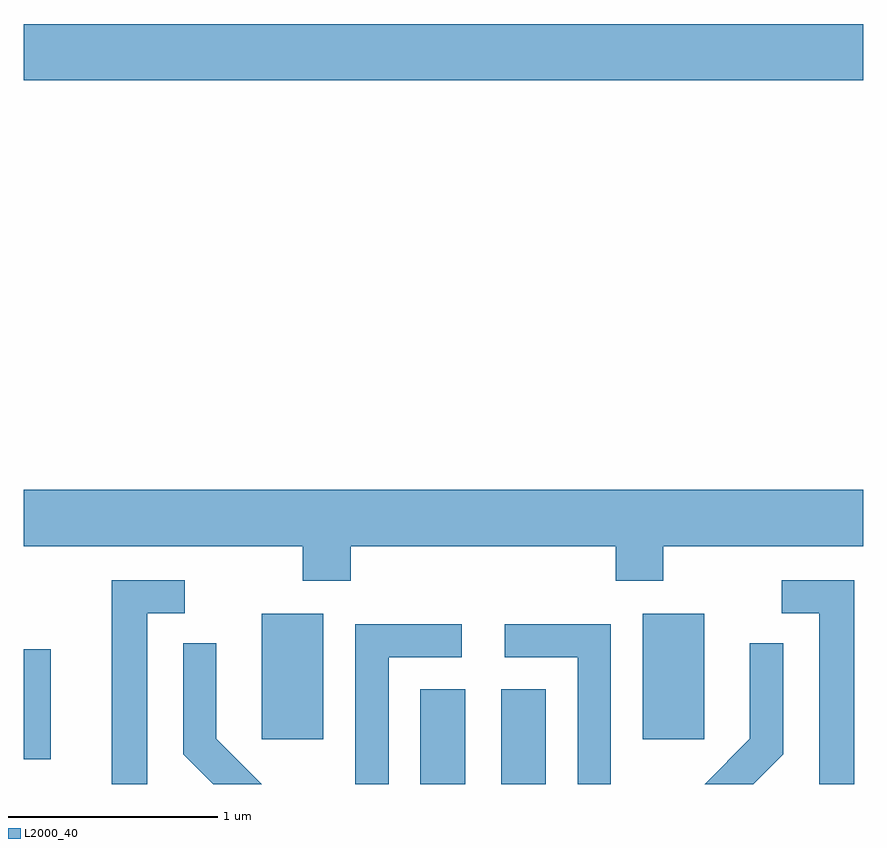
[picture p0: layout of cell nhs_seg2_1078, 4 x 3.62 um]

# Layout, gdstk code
import gdstk
lib = gdstk.Library(unit=1e-6, precision=1e-09)
def R(c, l, rs):  # rectangles x0, y0, x1, y1
    for r in rs: c.add(gdstk.rectangle(r[:2], r[2:], *l))
def P(c, l, *ps):  # polygons
    for p in ps: c.add(gdstk.Polygon(p, *l))
L2000_40 = (2000, 40)

nhs_seg2_1078 = lib.new_cell('nhs_seg2_1078')
R(nhs_seg2_1078, L2000_40, [(217.501,1093.802,217.714,1094.254), (217.886,1093.802,218.099,1094.254), (215.611,1093.921,215.739,1094.444), (216.746,1094.016,217.039,1094.614), (218.561,1094.016,218.854,1094.614), (215.611,1097.156,219.611,1097.424)])
P(nhs_seg2_1078, L2000_40, [(217.169,1094.936),(218.431,1094.936),(218.431,1094.771),(218.659,1094.771),(218.659,1094.936),(219.611,1094.936),(219.611,1095.204),(215.611,1095.204),(215.611,1094.936),(216.941,1094.936),(216.941,1094.771),(217.169,1094.771)],
  [(219.569,1094.774),(219.223,1094.774),(219.223,1094.616),(219.401,1094.616),(219.401,1093.802),(219.569,1093.802)],
  [(216.199,1094.616),(216.378,1094.616),(216.378,1094.774),(216.031,1094.774),(216.031,1093.802),(216.199,1093.802)],
  [(217.349,1094.406),(217.698,1094.406),(217.698,1094.564),(217.191,1094.564),(217.191,1093.802),(217.349,1093.802)],
  [(218.409,1094.564),(217.903,1094.564),(217.903,1094.406),(218.251,1094.406),(218.251,1093.802),(218.409,1093.802)],
  [(216.529,1094.017),(216.529,1094.473),(216.371,1094.473),(216.371,1093.944),(216.513,1093.802),(216.744,1093.802)],
  [(219.229,1093.944),(219.229,1094.473),(219.071,1094.473),(219.071,1094.017),(218.856,1093.802),(219.087,1093.802)])

lib.write_gds('nhs_seg2_1078.gds')
